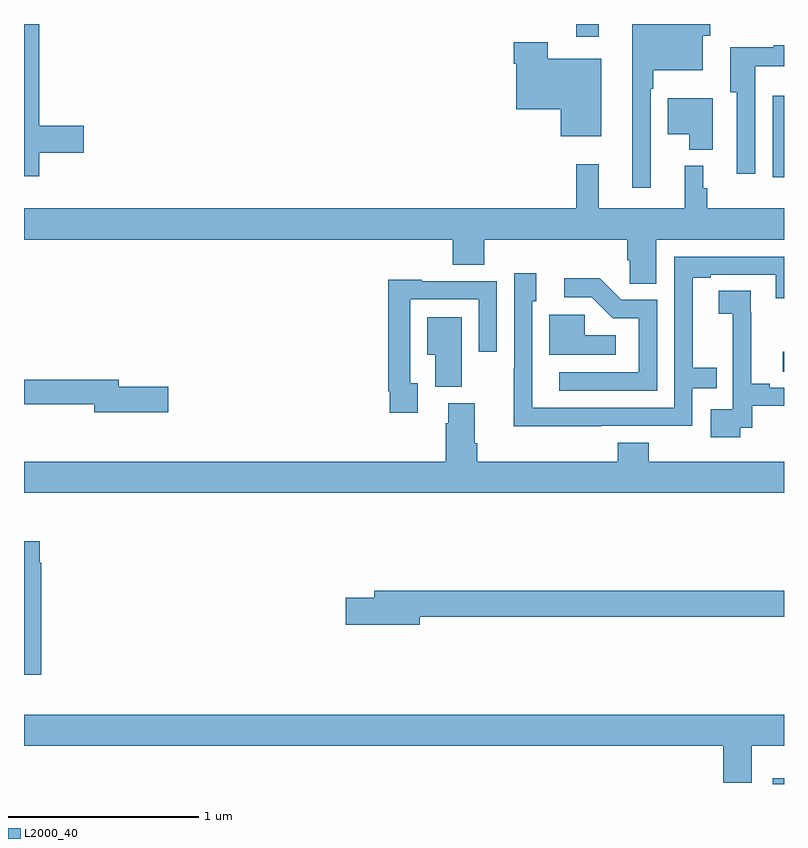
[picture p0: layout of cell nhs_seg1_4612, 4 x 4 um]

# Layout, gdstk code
import gdstk
lib = gdstk.Library(unit=1e-6, precision=1e-09)
def R(c, l, rs):  # rectangles x0, y0, x1, y1
    for r in rs: c.add(gdstk.rectangle(r[:2], r[2:], *l))
def P(c, l, *ps):  # polygons
    for p in ps: c.add(gdstk.Polygon(p, *l))
L2000_40 = (2000, 40)

nhs_seg1_4612 = lib.new_cell('nhs_seg1_4612')
R(nhs_seg1_4612, L2000_40, [(364.94,550.199,365,550.228), (364.994,552.37,365,552.474), (364.94,553.392,365,553.822), (363.907,554.133,364.026,554.199)])
P(nhs_seg1_4612, L2000_40, [(361.079,553.522),(361.315,553.522),(361.315,553.664),(361.079,553.664),(361.079,554.199),(361,554.199),(361,553.398),(361.079,553.398)],
  [(364.299,553.859),(364.312,553.859),(364.312,553.955),(364.573,553.955),(364.573,554.137),(364.612,554.137),(364.612,554.199),(364.202,554.199),(364.202,553.338),(364.299,553.338)],
  [(364.039,554.017),(363.756,554.017),(363.756,554.104),(363.578,554.104),(363.578,553.991),(363.59,553.991),(363.59,553.751),(363.824,553.751),(363.824,553.607),(364.039,553.607)],
  [(364.848,553.976),(365,553.976),(365,554.086),(364.945,554.086),(364.945,554.076),(364.718,554.076),(364.718,553.841),(364.752,553.841),(364.752,553.41),(364.848,553.41)],
  [(364.624,553.807),(364.388,553.807),(364.388,553.619),(364.502,553.619),(364.502,553.538),(364.624,553.538)],
  [(365,553.228),(364.595,553.228),(364.595,553.335),(364.576,553.335),(364.576,553.453),(364.478,553.453),(364.478,553.228),(364.025,553.228),(364.025,553.462),(363.907,553.462),(363.907,553.228),(361,553.228),(361,553.064),(363.257,553.064),(363.257,552.931),(363.422,552.931),(363.422,553.064),(364.175,553.064),(364.175,552.955),(364.188,552.955),(364.188,552.832),(364.327,552.832),(364.327,553.064),(365,553.064)],
  [(364.04,552.084),(364.518,552.084),(364.518,552.282),(364.646,552.282),(364.646,552.391),(364.519,552.391),(364.519,552.864),(364.615,552.864),(364.615,552.879),(364.956,552.879),(364.956,552.756),(365,552.756),(365,552.975),(364.422,552.975),(364.422,552.18),(363.675,552.18),(363.675,552.741),(363.697,552.741),(363.697,552.886),(363.579,552.886),(363.579,552.386),(363.578,552.386),(363.578,552.083),(364.04,552.083)],
  [(364.332,552.747),(364.143,552.747),(364.03,552.86),(363.843,552.86),(363.843,552.762),(363.987,552.762),(364.098,552.651),(364.236,552.651),(364.236,552.366),(363.816,552.366),(363.816,552.27),(364.332,552.27)],
  [(363.073,552.309),(363.033,552.309),(363.033,552.75),(363.393,552.75),(363.393,552.474),(363.489,552.474),(363.489,552.846),(363.093,552.846),(363.093,552.853),(362.917,552.853),(362.917,552.265),(362.925,552.265),(362.925,552.153),(363.073,552.153)],
  [(364.77,552.075),(364.832,552.075),(364.832,552.189),(365,552.189),(365,552.285),(364.924,552.285),(364.924,552.305),(364.828,552.305),(364.828,552.683),(364.826,552.683),(364.826,552.794),(364.656,552.794),(364.656,552.673),(364.73,552.673),(364.73,552.475),(364.731,552.475),(364.731,552.171),(364.614,552.171),(364.614,552.024),(364.77,552.024)],
  [(364.114,552.562),(363.951,552.562),(363.951,552.669),(363.764,552.669),(363.764,552.458),(364.114,552.458)],
  [(363.304,552.655),(363.122,552.655),(363.122,552.458),(363.164,552.458),(363.164,552.289),(363.304,552.289)],
  [(361.759,552.29),(361.498,552.29),(361.498,552.326),(361,552.326),(361,552.198),(361.37,552.198),(361.37,552.155),(361.759,552.155)],
  [(365,551.896),(364.289,551.896),(364.289,551.995),(364.124,551.995),(364.124,551.896),(363.386,551.896),(363.386,551.992),(363.373,551.992),(363.373,552.204),(363.233,552.204),(363.233,552.098),(363.221,552.098),(363.221,551.896),(361,551.896),(361,551.732),(365,551.732)],
  [(361.091,551.363),(361.084,551.363),(361.084,551.476),(361,551.476),(361,550.775),(361.091,550.775)],
  [(363.082,551.08),(365,551.08),(365,551.216),(362.843,551.216),(362.843,551.18),(362.694,551.18),(362.694,551.038),(363.082,551.038)],
  [(364.831,550.4),(365,550.4),(365,550.564),(361,550.564),(361,550.4),(364.679,550.4),(364.679,550.206),(364.831,550.206)])

lib.write_gds('nhs_seg1_4612.gds')
